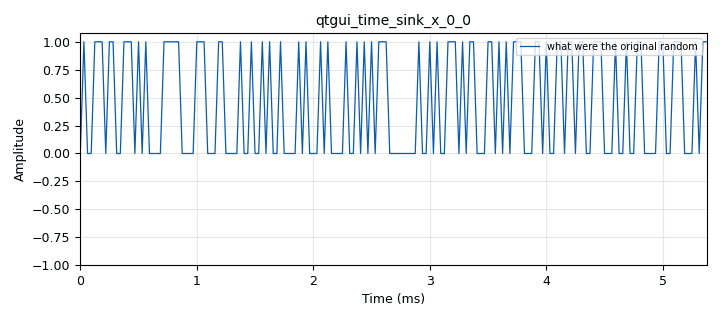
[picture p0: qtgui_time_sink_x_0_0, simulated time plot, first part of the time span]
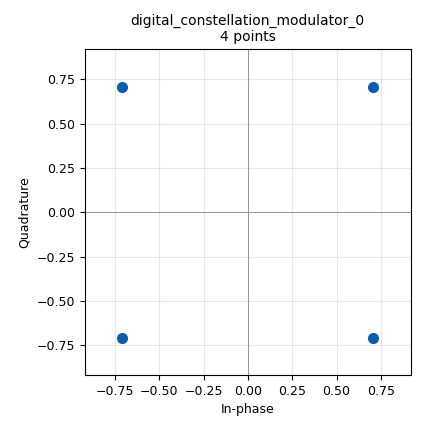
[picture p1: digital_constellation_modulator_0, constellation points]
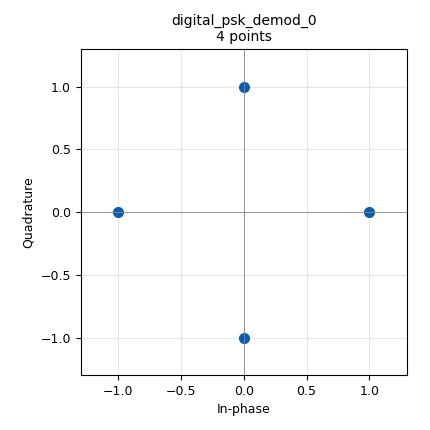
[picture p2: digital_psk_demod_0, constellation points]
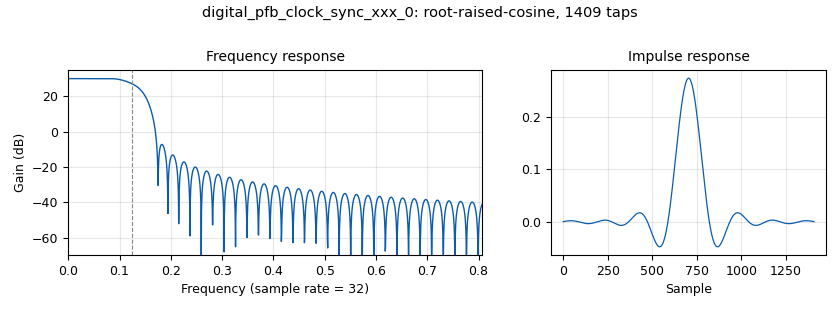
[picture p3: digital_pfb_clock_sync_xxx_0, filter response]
options:
  parameters:
    generate_options: qt_gui
    id: test_0_yt
    output_language: python
    title: Not titled yet
  states: {}

blocks:
- name: RX_rf_gain
  id: variable_qtgui_range
  parameters:
    start: '0'
    step: '1'
    stop: '50'
    value: '0'
  states: {}
- name: TX_rf_gain
  id: variable_qtgui_range
  parameters:
    start: '0'
    step: '1'
    stop: '50'
    value: '30'
  states: {}
- name: excess_bw
  id: variable
  parameters:
    value: '350e-3'
  states: {}
- name: nfilts
  id: variable
  parameters:
    value: '32'
  states: {}
- name: qpsk
  id: variable_constellation_rect
  parameters:
    const_points: '[0.707+0.707j, -0.707+0.707j, -0.707-0.707j, 0.707-0.707j]'
    imag_sect: '2'
    real_sect: '2'
    rot_sym: '4'
    sym_map: '[0, 1, 3, 2]'
    w_imag_sect: '1'
    w_real_sect: '1'
  states: {}
- name: rrc_tasp
  id: variable
  parameters:
    value: firdes.root_raised_cosine(nfilts,nfilts,1.0/float(sps),excess_bw,11*sps*nfilts)
  states: {}
- name: samp_rate
  id: variable
  parameters:
    value: '576000'
  states: {}
- name: sdr_samp_rate
  id: variable
  parameters:
    value: '96000'
  states: {}
- name: sps
  id: variable
  parameters:
    value: '4'
  states: {}
- name: analog_random_source_x_0
  id: analog_random_source_x
  parameters:
    max: '256'
    min: '0'
    num_samps: '10000'
    repeat: 'True'
    type: byte
  states: {}
- name: analog_random_uniform_source_x_0
  id: analog_random_uniform_source_x
  parameters:
    maximum: '256'
    minimum: '0'
    seed: '0'
    type: byte
  states: {state: disabled}
- name: blocks_char_to_float_0
  id: blocks_char_to_float
  parameters:
    scale: '1'
  states: {}
- name: blocks_char_to_float_0_0
  id: blocks_char_to_float
  parameters:
    scale: '1'
  states: {}
- name: blocks_throttle_0
  id: blocks_throttle
  parameters:
    samples_per_second: samp_rate
    type: complex
  states: {}
- name: blocks_unpack_k_bits_bb_0
  id: blocks_unpack_k_bits_bb
  parameters:
    k: '2'
  states: {}
- name: blocks_unpack_k_bits_bb_0_0
  id: blocks_unpack_k_bits_bb
  parameters:
    k: '8'
  states: {}
- name: channels_channel_model_0
  id: channels_channel_model
  parameters:
    epsilon: '1.0'
    freq_offset: '0.0'
    noise_voltage: '100e-6'
    seed: '0'
    taps: '1'
  states: {}
- name: digital_constellation_modulator_0
  id: digital_constellation_modulator
  parameters:
    constellation: qpsk
    differential: 'True'
    excess_bw: excess_bw
    samples_per_symbol: '4'
  states: {}
- name: digital_costas_loop_cc_0
  id: digital_costas_loop_cc
  parameters:
    order: '4'
    w: '62.8e-3'
  states: {}
- name: digital_diff_decoder_bb_0
  id: digital_diff_decoder_bb
  parameters:
    coding: digital.DIFF_DIFFERENTIAL
    modulus: '4'
  states: {}
- name: digital_map_bb_0
  id: digital_map_bb
  parameters:
    map: '[0, 1, 3, 2]'
  states: {}
- name: digital_pfb_clock_sync_xxx_0
  id: digital_pfb_clock_sync_xxx
  parameters:
    filter_size: '32'
    init_phase: '16'
    loop_bw: '62.8e-3'
    max_dev: '1.5'
    osps: '1'
    sps: sps*1.001
    taps: rrc_tasp
    type: ccf
  states: {}
- name: digital_psk_demod_0
  id: digital_psk_demod
  parameters:
    constellation_points: '4'
    differential: 'True'
    excess_bw: '0.35'
    freq_bw: 6.28/100.0
    mod_code: '"gray"'
    phase_bw: 6.28/100.0
    samples_per_symbol: '2'
    timing_bw: 6.28/100.0
  states: {}
- name: osmosdr_sink_0
  id: osmosdr_sink
  parameters:
    bb_gain0: '20'
    freq0: 415.4e6
    gain0: TX_rf_gain
    if_gain0: '20'
    sample_rate: samp_rate
    sync: sync
    type: fc32
  states: {}
- name: osmosdr_source_1
  id: osmosdr_source
  parameters:
    args: '"bladerf=0,nchan=1,buffers=48,transfers=24,agc_mode=manual"'
    bb_gain0: '20'
    freq0: 415.4e6
    gain0: RX_rf_gain
    gain_mode0: 'False'
    if_gain0: '20'
    sample_rate: samp_rate
    sync: sync
    type: fc32
  states: {}
- name: qtgui_sink_x_0
  id: qtgui_sink_x
  parameters:
    bw: samp_rate/18
    fc: '0'
    fftsize: '1024'
    type: float
  states: {}
- name: qtgui_time_sink_x_0
  id: qtgui_time_sink_x
  parameters:
    label1: qt gui time sink of what RX1 listened
    size: '1024'
    srate: samp_rate/18
    type: float
  states: {}
- name: qtgui_time_sink_x_0_0
  id: qtgui_time_sink_x
  parameters:
    label1: what were the original random
    size: '1024'
    srate: samp_rate/18
    type: float
  states: {}

connections:
- [analog_random_source_x_0, '0', blocks_unpack_k_bits_bb_0_0, '0']
- [analog_random_source_x_0, '0', digital_constellation_modulator_0, '0']
- [analog_random_uniform_source_x_0, '0', digital_constellation_modulator_0, '0']
- [blocks_char_to_float_0, '0', qtgui_sink_x_0, '0']
- [blocks_char_to_float_0, '0', qtgui_time_sink_x_0, '0']
- [blocks_char_to_float_0_0, '0', qtgui_time_sink_x_0_0, '0']
- [blocks_throttle_0, '0', channels_channel_model_0, '0']
- [blocks_unpack_k_bits_bb_0, '0', blocks_char_to_float_0, '0']
- [blocks_unpack_k_bits_bb_0_0, '0', blocks_char_to_float_0_0, '0']
- [channels_channel_model_0, '0', digital_pfb_clock_sync_xxx_0, '0']
- [digital_constellation_modulator_0, '0', blocks_throttle_0, '0']
- [digital_costas_loop_cc_0, '0', osmosdr_sink_0, '0']
- [digital_diff_decoder_bb_0, '0', blocks_unpack_k_bits_bb_0, '0']
- [digital_map_bb_0, '0', digital_diff_decoder_bb_0, '0']
- [digital_pfb_clock_sync_xxx_0, '0', digital_costas_loop_cc_0, '0']
- [digital_psk_demod_0, '0', digital_map_bb_0, '0']
- [osmosdr_source_1, '0', digital_psk_demod_0, '0']

metadata:
  file_format: 1
  grc_version: 3.10.5.1
